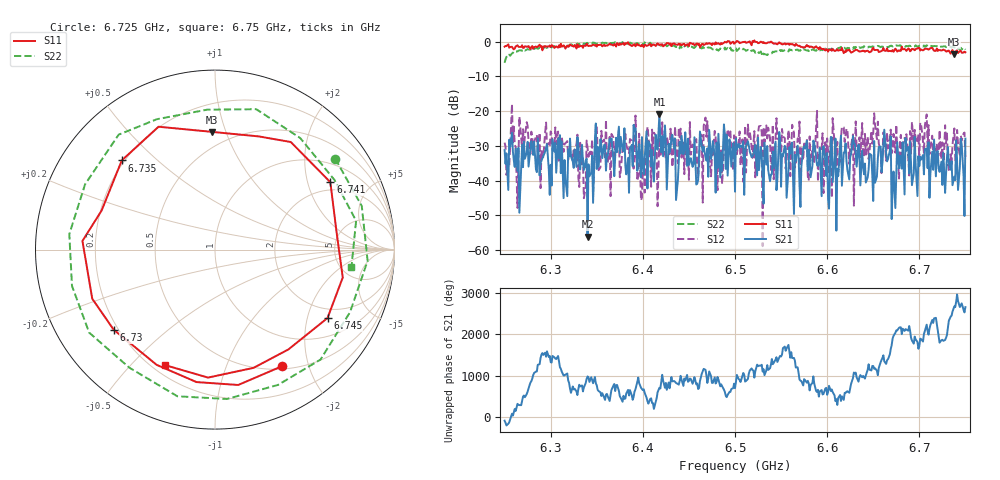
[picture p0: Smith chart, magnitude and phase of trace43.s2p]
# Hz S RI R 50
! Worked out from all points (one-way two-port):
!   401 points, 6.25 GHz to 6.75 GHz, reference 50 ohm
!   highest |S21| = -20.80 dB at 6.418 GHz (marker M1); lowest = -56.2 dB at 6.34 GHz (marker M2)
!   lowest |S11| = -3.7 dB at 6.738 GHz (marker M3), VSWR 4.81, Z = 19.5 + j44.9 ohm
!   |S11| at or under -10 dB: nowhere
!   |S22| runs from -6.1 to -0.2 dB; largest |S21 - S12| = 0.17
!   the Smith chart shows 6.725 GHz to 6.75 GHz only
!   S11 on the Smith chart (normalised r, x): 6.725 GHz: 0.54, -1.60; 6.73 GHz: 0.18, -0.34; 6.735 GHz: 0.19, +0.39; 6.741 GHz: 1.66, +2.79; 6.745 GHz: 1.62, -2.68; 6.75 GHz: 0.25, -0.63
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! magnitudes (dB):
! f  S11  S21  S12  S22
! 6.25 GHz  -1.5  -31.2  -29.1  -6.1
! 6.334 GHz  -1.3  -29.7  -35.3  -0.6
! 6.34 GHz  -1.0  -56.2  -30.6  -0.4
! 6.35 GHz  -1.4  -36.6  -24.6  -0.7
! 6.384 GHz  -0.2  -33.5  -31.7  -0.7
! 6.4 GHz  -1.2  -35.7  -34.3  -0.7
! 6.418 GHz  -1.0  -20.8  -26.1  -0.9
! 6.462 GHz  -1.7  -25.9  -26.5  -1.8
! 6.469 GHz  -0.5  -34.2  -27.4  -2.1
! 6.484 GHz  -0.9  -39.1  -35.3  -2.0
! 6.5 GHz  -0.3  -43.2  -32.0  -2.1
! 6.584 GHz  -1.6  -35.7  -31.5  -2.3
! 6.668 GHz  -2.7  -31.4  -28.1  -1.4
! 6.672 GHz  -2.9  -37.4  -26.6  -1.2
! 6.688 GHz  -2.0  -30.3  -33.2  -1.3
! 6.725 GHz  -2.5  -41.2  -29.0  -1.5
! 6.73 GHz  -2.9  -33.4  -26.4  -1.4
! 6.735 GHz  -2.9  -34.4  -35.2  -1.8
! 6.738 GHz  -3.7  -38.9  -25.0  -1.7
! 6.741 GHz  -2.6  -34.4  -25.4  -1.6
! 6.745 GHz  -2.7  -28.0  -27.0  -1.8
! 6.75 GHz  -3.1  -27.9  -33.2  -2.3
